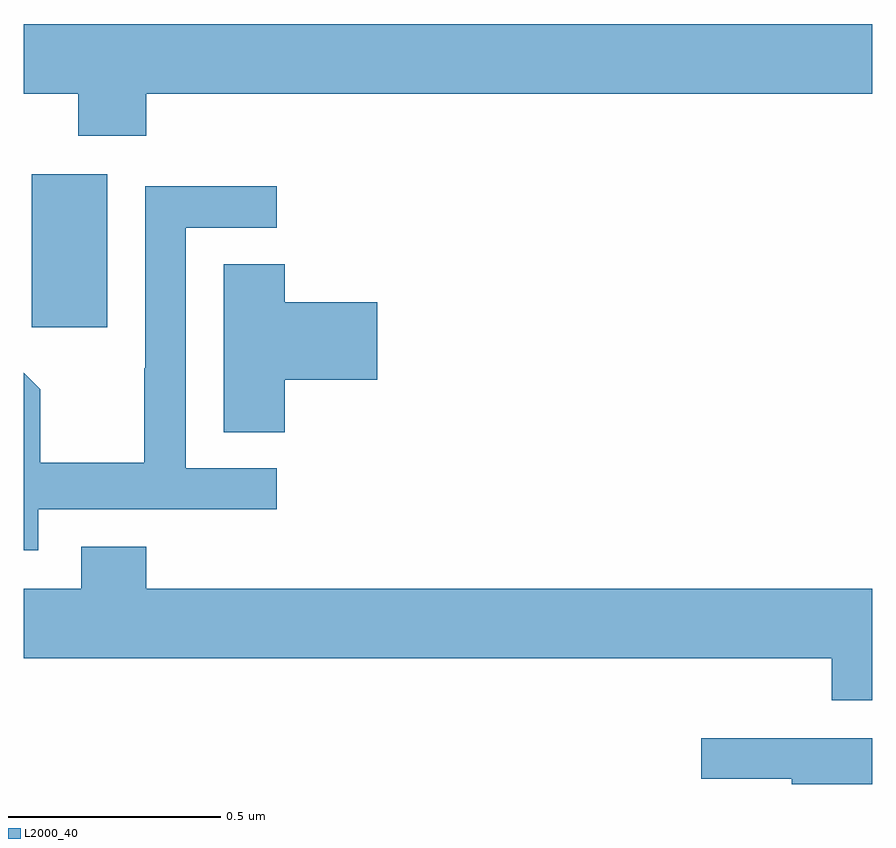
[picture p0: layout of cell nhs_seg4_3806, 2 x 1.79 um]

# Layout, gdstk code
import gdstk
lib = gdstk.Library(unit=1e-6, precision=1e-09)
def R(c, l, rs):  # rectangles x0, y0, x1, y1
    for r in rs: c.add(gdstk.rectangle(r[:2], r[2:], *l))
def P(c, l, *ps):  # polygons
    for p in ps: c.add(gdstk.Polygon(p, *l))
L2000_40 = (2000, 40)

nhs_seg4_3806 = lib.new_cell('nhs_seg4_3806')
R(nhs_seg4_3806, L2000_40, [(158.018,754.977,158.197,755.338)])
P(nhs_seg4_3806, L2000_40, [(158.288,755.528),(160,755.528),(160,755.692),(158,755.692),(158,755.528),(158.128,755.528),(158.128,755.429),(158.288,755.429)],
  [(158.034,754.548),(158.596,754.548),(158.596,754.644),(158.382,754.644),(158.382,755.211),(158.596,755.211),(158.596,755.31),(158.286,755.31),(158.286,754.88),(158.284,754.88),(158.284,754.657),(158.039,754.657),(158.039,754.831),(158,754.87),(158,754.451),(158.034,754.451)],
  [(158.615,754.853),(158.833,754.853),(158.833,755.036),(158.615,755.036),(158.615,755.126),(158.471,755.126),(158.471,754.729),(158.615,754.729)],
  [(160,754.36),(158.288,754.36),(158.288,754.459),(158.135,754.459),(158.135,754.36),(158,754.36),(158,754.196),(159.905,754.196),(159.905,754.097),(160,754.097)],
  [(160,754.008),(159.597,754.008),(159.597,753.912),(159.81,753.912),(159.81,753.9),(160,753.9)])

lib.write_gds('nhs_seg4_3806.gds')
